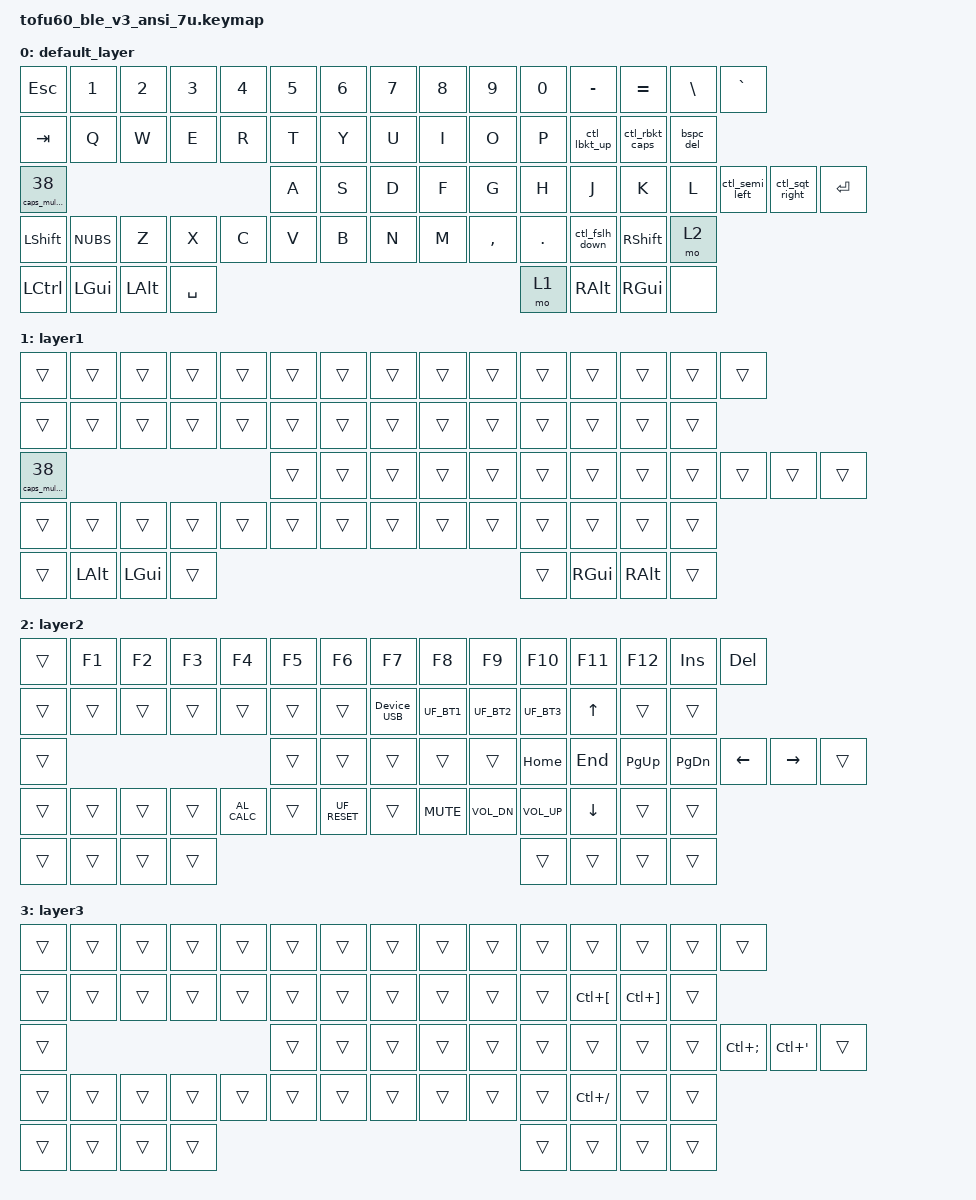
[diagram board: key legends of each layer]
/*
 * Copyright (c) 2021 The ZMK Contributors
 *
 * SPDX-License-Identifier: MIT
 */
#define FW_VER zmk_firmware_version_260511

#if 1
#define ZMK_BEHAVIORS_OMIT_CAPS_WORD        // &caps_word
#define ZMK_BEHAVIORS_OMIT_KT               // &kt, Key Toggle
#define ZMK_BEHAVIORS_OMIT_KEY_REPEAT       // &key_repeat, Key Repeat
#define ZMK_BEHAVIORS_OMIT_SK               // &sk, Sticky Key
#define ZMK_BEHAVIORS_OMIT_STICKY_LAYER     // &sl, Sticky Layer
#endif

#include <behaviors.dtsi>
#include <dt-bindings/zmk/keys.h>
#include <dt-bindings/zmk/pointing.h>
#include <dt-bindings/zmk/bt.h>
#include <dt-bindings/zmk/outputs.h>
#include "behaviors/custom_behaviors.dtsi"

/ {
    behaviors {
        //output ~ with RShift
        gresc: grave_escape {
            compatible = "zmk,behavior-mod-morph";
            #binding-cells = <0>;
            bindings = <&kp ESC>, <&kp GRAVE>;
            mods = <(MOD_LGUI|MOD_LSFT|MOD_RGUI|MOD_RSFT)>;
            keep-mods = <(MOD_RSFT)>;
        };

        mo: momentary_layer { display-name = "Layer Momentary"; };
        to: to_layer { display-name = "Layer To"; };
        tog: toggle_layer { display-name = "Layer Toggle"; };

        // mt default: hold preferred. Rename it.
        mt: mod_tap {
            compatible = "zmk,behavior-hold-tap";
            #binding-cells = <2>;
            flavor = "hold-preferred";
            tapping-term-ms = <260>;
            quick-tap-ms = <240>;
            bindings = <&kp>, <&kp>;
            display-name = "Mod-Tap(HP)";
        };

        // mt_tp tap preferred
        mt_tp: mod_tap_tp {
            compatible = "zmk,behavior-hold-tap";
            #binding-cells = <2>;
            flavor = "tap-preferred";
            tapping-term-ms = <200>;
            quick-tap-ms = <180>;
            bindings = <&kp>, <&kp>;
            display-name = "Mod-Tap(TP)";
        };

        // lt default: tap preferred. Rename it.
        lt: layer_tap {
            compatible = "zmk,behavior-hold-tap";
            #binding-cells = <2>;
            flavor = "tap-preferred";
            tapping-term-ms = <200>;
            quick-tap-ms = <180>;
            bindings = <&mo>, <&kp>;
            display-name = "Layer-Tap(TP)";
        };

        // lt_hp:  hold preferred
        lt_hp: layer_tap_hp {
            compatible = "zmk,behavior-hold-tap";
            #binding-cells = <2>;
            flavor = "hold-preferred";
            tapping-term-ms = <260>;
            quick-tap-ms = <240>;
            bindings = <&mo>, <&kp>;
            display-name = "Layer-Tap(HP)";
        };

        trans: transparent { display-name = "_Trans"; };
        none: none { display-name = "Key(None)"; };

        #if 1
        out: outputs { display-name = "zmk_reserved_output_sel"; };
        ZMK_MACRO(Device_USB, bindings = <&out OUT_USB>;)

        bt: bluetooth { display-name = "zmk_reserved_bluetooth"; };

        #define SHOW_LED 0xAB //A5-AF Reserved
        ZMK_MACRO(FW_VER, bindings = <&kp LCTRL &kp LALT &kp LSHIFT &kp LGUI &kp RCTRL &kp RALT &kp RSHIFT &kp RGUI>;)
        ZMK_MACRO(zmk_reserved_bt_clear_0, bindings = <&bt BT_SEL 0>, <&bt BT_CLR>, <&kp SHOW_LED>;)
        ZMK_MACRO(zmk_reserved_bt_clear_1, bindings = <&bt BT_SEL 1>, <&bt BT_CLR>, <&kp SHOW_LED>;)
        ZMK_MACRO(zmk_reserved_bt_clear_2, bindings = <&bt BT_SEL 2>, <&bt BT_CLR>, <&kp SHOW_LED>;)
        ZMK_MACRO(zmk_reserved_bt_conn_0,  bindings = <&out OUT_BLE>, <&bt BT_SEL 0>, <&kp SHOW_LED>;)
        ZMK_MACRO(zmk_reserved_bt_conn_1,  bindings = <&out OUT_BLE>, <&bt BT_SEL 1>, <&kp SHOW_LED>;)
        ZMK_MACRO(zmk_reserved_bt_conn_2,  bindings = <&out OUT_BLE>, <&bt BT_SEL 2>, <&kp SHOW_LED>;)

        device_bt1: device_bt1 {
            compatible = "zmk,behavior-hold-tap";
            display-name = "Device_BT1";
            #binding-cells = <2>;
            flavor = "tap-preferred";
            tapping-term-ms = <3000>;  // delay amount in ms
            bindings = <&zmk_reserved_bt_clear_0>, <&zmk_reserved_bt_conn_0>;
        };
        device_bt2: device_bt2 {
            compatible = "zmk,behavior-hold-tap";
            display-name = "Device_BT2";
            #binding-cells = <2>;
            flavor = "tap-preferred";
            tapping-term-ms = <3000>;  // delay amount in ms
            bindings = <&zmk_reserved_bt_clear_1>, <&zmk_reserved_bt_conn_1>;
        };
        device_bt3: device_bt3 {
            compatible = "zmk,behavior-hold-tap";
            display-name = "Device_BT3";
            #binding-cells = <2>;
            flavor = "tap-preferred";
            tapping-term-ms = <3000>;  // delay amount in ms
            bindings = <&zmk_reserved_bt_clear_2>, <&zmk_reserved_bt_conn_2>;
        };
        //
        soft_off: z_so_off {
            compatible = "zmk,behavior-soft-off";
            display-name = "KBD Lock";
            #binding-cells = <0>;
            hold-time-ms = <1000>;
        };
        sys_reset: sysreset { display-name = "zmk_reserved_reset"; };
        bootloader: bootload { display-name = "zmk_reserved_bootloader"; };

        bootloader_reset:bootloader_reset {
            compatible = "zmk,behavior-hold-tap";
            display-name = "RESET";
            #binding-cells = <2>;
            flavor = "tap-preferred";
            tapping-term-ms = <3000>;  // delay amount in ms
            bindings = <&bootloader>, <&sys_reset>;
        };

        studio_unlock: studio_unlock { display-name = "zmk_reserved_studio_unlock"; };
        #endif

        //mouse move
        mmu:mouse_move_up {
            compatible = "zmk,behavior-tap-dance";
            display-name = "Mouse Move Up";
            #binding-cells = <0>;
            tapping-term-ms = <0>;
            bindings = <&mmv MOVE_UP>;
        };
        mmd:mouse_move_down {
            compatible = "zmk,behavior-tap-dance";
            display-name = "Mouse Move Down";
            #binding-cells = <0>;
            tapping-term-ms = <0>;
            bindings = <&mmv MOVE_DOWN>;
        };
        mml:mouse_move_left {
            compatible = "zmk,behavior-tap-dance";
            display-name = "Mouse Move Left";
            #binding-cells = <0>;
            tapping-term-ms = <0>;
            bindings = <&mmv MOVE_LEFT>;
        };
        mmr:mouse_move_right {
            compatible = "zmk,behavior-tap-dance";
            display-name = "Mouse Move Right";
            #binding-cells = <0>;
            tapping-term-ms = <0>;
            bindings = <&mmv MOVE_RIGHT>;
        };
        //mouse scroll
        msu:mouse_scroll_up {
            compatible = "zmk,behavior-tap-dance";
            display-name = "Mouse Scroll Up";
            #binding-cells = <0>;
            tapping-term-ms = <0>;
            bindings = <&msc SCRL_UP>;
        };
        msd:mouse_scroll_down {
            compatible = "zmk,behavior-tap-dance";
            display-name = "Mouse Scroll Down";
            #binding-cells = <0>;
            tapping-term-ms = <0>;
            bindings = <&msc SCRL_DOWN>;
        };
        msl:mouse_scroll_left {
            compatible = "zmk,behavior-tap-dance";
            display-name = "Mouse Scroll Left";
            #binding-cells = <0>;
            tapping-term-ms = <0>;
            bindings = <&msc SCRL_LEFT>;
        };
        msr:mouse_scroll_right {
            compatible = "zmk,behavior-tap-dance";
            display-name = "Mouse Scroll Right";
            #binding-cells = <0>;
            tapping-term-ms = <0>;
            bindings = <&msc SCRL_RIGHT>;
        };
    };
    combos {
        compatible = "zmk,combos";
        combo_clear_mods {
            timeout-ms = <20>;
            key-positions = <1 11>; // 1!  and -_
            bindings = <&FW_VER>;
        };
    };
};

#define UF_RESET bootloader_reset 0 0
#define UF_BT1 device_bt1 0 0
#define UF_BT2 device_bt2 0 1
#define UF_BT3 device_bt3 0 2

/ {
    keymap {
        compatible = "zmk,keymap";

        default_layer {

            bindings = <
    &kp ESC &kp N1 &kp N2 &kp N3 &kp N4 &kp N5 &kp N6 &kp N7 &kp N8 &kp N9 &kp N0 &kp MINUS &kp EQUAL &kp BSLH &kp GRAVE
    &kp TAB    &kp Q  &kp W  &kp E  &kp R  &kp T  &kp Y  &kp U  &kp I  &kp O  &kp P  &ctl_lbkt_up  &ctl_rbkt_caps  &bspc_del
    &caps_multi_overlap_tunable 38 &kp A  &kp S  &kp D  &kp F  &kp G  &kp H  &kp J  &kp K  &kp L  &ctl_semi_left &ctl_sqt_right &kp RET
    &kp LSHFT &kp NUBS &kp Z  &kp X  &kp C  &kp V  &kp B  &kp N  &kp M  &kp COMMA &kp DOT &ctl_fslh_down &kp RSHIFT  &mo 2
    &kp LCTRL &kp LGUI &kp LALT             &kp SPACE                       &mo 1  &kp RALT  &kp RGUI &none
            >;
        };

        layer1 {
            bindings = <
    &trans &trans &trans &trans &trans &trans &trans &trans &trans &trans &trans &trans &trans &trans &trans
    &trans &trans &trans &trans &trans &trans &trans &trans &trans &trans &trans &trans &trans &trans
    &caps_multi_overlap_tunable_mac 38 &trans &trans &trans &trans &trans &trans &trans &trans &trans &trans &trans &trans
    &trans &trans &trans &trans &trans &trans &trans &trans &trans &trans &trans &trans &trans &trans
    &trans &kp LALT &kp LGUI              &trans                         &trans &kp RGUI &kp RALT &trans
            >;
        };

        layer2 {
            bindings = <
    &trans  &kp F1    &kp F2    &kp F3  &kp F4   &kp F5  &kp F6  &kp F7  &kp F8   &kp F9   &kp F10  &kp F11 &kp F12  &kp INSERT  &kp DELETE
    &trans &trans    &trans    &trans  &trans   &trans  &trans  &Device_USB  &UF_BT1  &UF_BT2  &UF_BT3  &kp UP           &trans          &trans
    &trans   &trans    &trans    &trans    &trans  &trans      &kp HOME  &kp END  &kp PAGE_UP  &kp PAGE_DOWN  &kp LEFT  &kp RIGHT            &trans
    &trans &trans  &trans    &trans    &kp C_AL_CALC  &trans &UF_RESET  &trans  &kp C_MUTE  &kp C_VOL_DN  &kp C_VOL_UP   &kp DOWN   &trans  &trans
    &trans  &trans   &trans                            &trans                                   &trans    &trans      &trans   &trans
            >;
        };
        layer3 {
            bindings = <
    &trans &trans &trans &trans &trans &trans &trans &trans &trans &trans &trans &trans &trans &trans &trans
    &trans &trans &trans &trans &trans &trans &trans &trans &trans &trans &trans &kp LC(LBKT) &kp LC(RBKT) &trans
    &trans &trans &trans &trans &trans &trans &trans &trans &trans &trans &kp LC(SEMI) &kp LC(SQT) &trans
    &trans &trans &trans &trans &trans &trans &trans &trans &trans &trans &trans &kp LC(FSLH) &trans &trans
    &trans &trans &trans                         &trans                         &trans &trans &trans &trans
            >;
        };
        layer4 { status = "reserved"; };
        layer5 { status = "reserved"; };
        layer6 { status = "reserved"; };
        layer7 { status = "reserved"; };
    };
};
